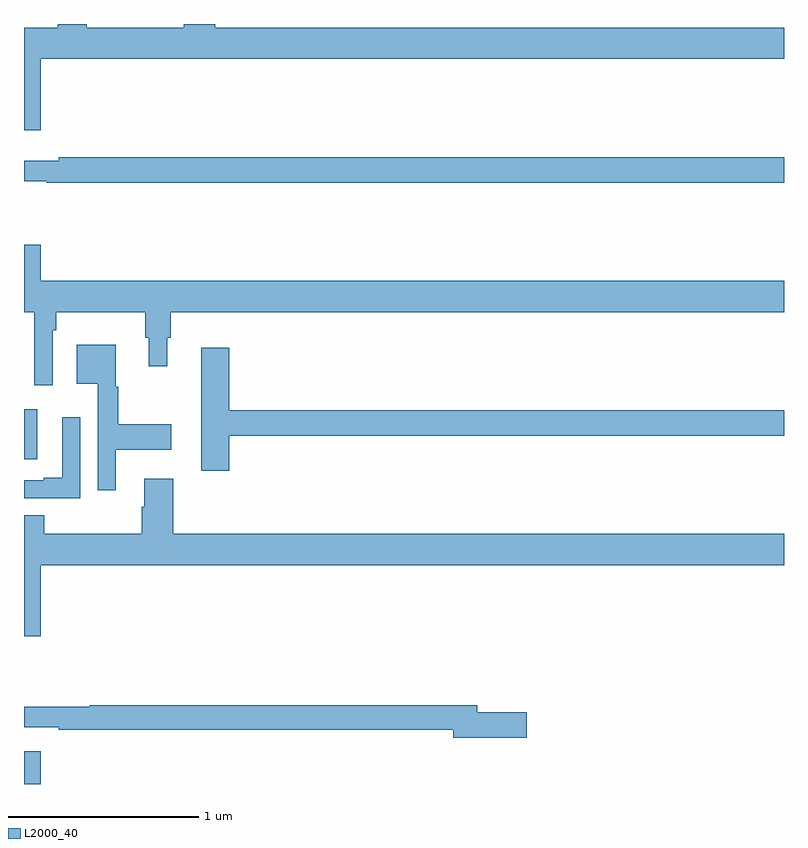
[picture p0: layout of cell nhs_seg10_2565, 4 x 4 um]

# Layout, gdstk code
import gdstk
lib = gdstk.Library(unit=1e-6, precision=1e-09)
def R(c, l, rs):  # rectangles x0, y0, x1, y1
    for r in rs: c.add(gdstk.rectangle(r[:2], r[2:], *l))
def P(c, l, *ps):  # polygons
    for p in ps: c.add(gdstk.Polygon(p, *l))
L2000_40 = (2000, 40)

nhs_seg10_2565 = lib.new_cell('nhs_seg10_2565')
R(nhs_seg10_2565, L2000_40, [(249,1296.5,249.088,1296.673), (249,1298.21,249.07,1298.473)])
P(nhs_seg10_2565, L2000_40, [(249.088,1300.316),(253,1300.316),(253,1300.48),(250.007,1300.48),(250.007,1300.5),(249.842,1300.5),(249.842,1300.48),(249.329,1300.48),(249.329,1300.5),(249.177,1300.5),(249.177,1300.48),(249,1300.48),(249,1299.942),(249.088,1299.942)],
  [(253,1299.8),(249.184,1299.8),(249.184,1299.781),(249,1299.781),(249,1299.672),(249.121,1299.672),(249.121,1299.664),(253,1299.664)],
  [(249.15,1298.888),(249.17,1298.888),(249.17,1298.984),(249.637,1298.984),(249.637,1298.85),(249.656,1298.85),(249.656,1298.7),(249.754,1298.7),(249.754,1298.85),(249.773,1298.85),(249.773,1298.984),(253,1298.984),(253,1299.148),(249.088,1299.148),(249.088,1299.337),(249,1299.337),(249,1298.984),(249.053,1298.984),(249.053,1298.598),(249.15,1298.598)],
  [(249.484,1298.258),(249.775,1298.258),(249.775,1298.393),(249.496,1298.393),(249.496,1298.592),(249.484,1298.592),(249.484,1298.812),(249.278,1298.812),(249.278,1298.606),(249.387,1298.606),(249.387,1298.046),(249.484,1298.046)],
  [(250.079,1298.332),(253,1298.332),(253,1298.468),(250.079,1298.468),(250.079,1298.797),(249.932,1298.797),(249.932,1298.148),(250.079,1298.148)],
  [(249.297,1298.431),(249.2,1298.431),(249.2,1298.113),(249.104,1298.113),(249.104,1298.1),(249,1298.1),(249,1298.004),(249.297,1298.004)],
  [(249.088,1297.652),(253,1297.652),(253,1297.816),(249.785,1297.816),(249.785,1298.107),(249.632,1298.107),(249.632,1297.958),(249.62,1297.958),(249.62,1297.816),(249.107,1297.816),(249.107,1297.914),(249,1297.914),(249,1297.278),(249.088,1297.278)],
  [(251.647,1296.878),(251.386,1296.878),(251.386,1296.914),(249.345,1296.914),(249.345,1296.907),(249,1296.907),(249,1296.798),(249.184,1296.798),(249.184,1296.786),(251.258,1296.786),(251.258,1296.743),(251.647,1296.743)])

lib.write_gds('nhs_seg10_2565.gds')
